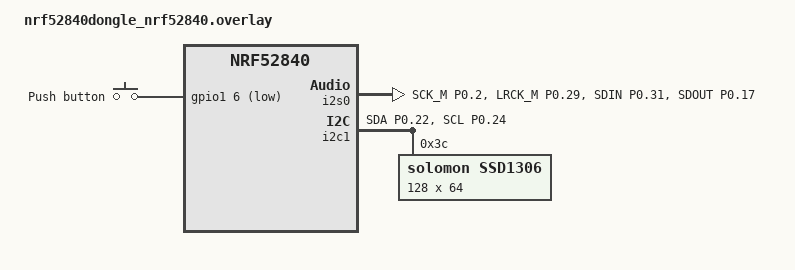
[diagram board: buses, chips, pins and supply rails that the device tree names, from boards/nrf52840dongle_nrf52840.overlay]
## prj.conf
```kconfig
CONFIG_I2S=y
CONFIG_PINCTRL=y
CONFIG_LOG=y
CONFIG_PRINTK=y
CONFIG_CONSOLE=y
CONFIG_SERIAL=y

CONFIG_ESB=y
CONFIG_ESB_MAX_PAYLOAD_LENGTH=132
CONFIG_ESB_TX_FIFO_SIZE=16


#Display
CONFIG_I2C=y
CONFIG_DISPLAY=y
# CFB API
CONFIG_CHARACTER_FRAMEBUFFER=y
# cfb library uses k_malloc internally
CONFIG_HEAP_MEM_POOL_SIZE=16384
```

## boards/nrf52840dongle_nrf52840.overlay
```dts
&pinctrl {
	i2s0_default: i2s0_default {
		group1 {
			psels = <NRF_PSEL(I2S_SCK_M, 0, 2)>,
				<NRF_PSEL(I2S_LRCK_M, 0, 29)>,
				<NRF_PSEL(I2S_SDIN,0,31)>,
				<NRF_PSEL(I2S_SDOUT,0,17)>;
		};
	};
};


&i2s0{
	status = "okay";
	pinctrl-0 = <&i2s0_default>;
	pinctrl-names = "default";
	};

//Below are disabled since 2 of those pins are configured for them
&uart0 {
	status="disabled";
};

&spi1{
	status="disabled";
};

//display
&pinctrl {
    i2c1_default: i2c1_default {
        group1 {
            psels = <NRF_PSEL(TWIM_SDA, 0, 22)>,
                    <NRF_PSEL(TWIM_SCL, 0, 24)>;
        };
    };

    i2c1_sleep: i2c1_sleep {
        group1 {
            psels = <NRF_PSEL(TWIM_SDA, 0, 22)>,
                    <NRF_PSEL(TWIM_SCL, 0, 24)>;
            low-power-enable;
        };
    };
};

&i2c1 {
    status = "okay";
    compatible = "nordic,nrf-twim";
    pinctrl-0 = <&i2c1_default>;
    pinctrl-1 = <&i2c1_sleep>;
    pinctrl-names = "default", "sleep";

    zephyr,concat-buf-size = <1040>;   /* >= 1 (control byte) + 1024 (128x64/8) */

    ssd1306: ssd1306@3c {
        compatible = "solomon,ssd1306";
        reg = <0x3c>;
        width = <128>;
        height = <64>;
        segment-offset = <0>;
        page-offset = <0>;
        display-offset = <0>;
        multiplex-ratio = <63>;
        segment-remap;
        com-invdir;
        prechargep = <0x22>;
    };
};


/ {
    buttons {
        compatible = "gpio-keys";

        button0: button_0 {
            gpios = <&gpio1 6 (GPIO_PULL_UP | GPIO_ACTIVE_LOW)>;
            label = "Push button";
        };
    };

    aliases {
        sw0 = &button0;
    };
};
```

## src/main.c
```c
#include <zephyr/kernel.h>
#include <zephyr/device.h>
#include <zephyr/devicetree.h>
#include <zephyr/drivers/i2s.h>
#include <zephyr/drivers/display.h>
// #include <zephyr/display/cfb.h>
#include <zephyr/sys/printk.h>
#include <string.h>
#include <zephyr/drivers/gpio.h>

#include <zephyr/sys/util.h>
#include <esb.h>

#define SAMPLE_RATE            8000
#define AUDIO_WORD_SIZE         24
#define AUDIO_BLOCK_COUNT        8
#define AUDIO_SAMPLES_PER_BLOCK 512
#define AUDIO_BLOCK_SIZE        (sizeof(int32_t) * AUDIO_SAMPLES_PER_BLOCK)

#define MIC_GAIN 8   

#define ESB_CHUNK_DATA_SIZE      128
#define SAMPLES_PER_CHUNK        (ESB_CHUNK_DATA_SIZE / sizeof(int16_t))       //64
#define CHUNKS_PER_BLOCK         (AUDIO_SAMPLES_PER_BLOCK / SAMPLES_PER_CHUNK) //8

#define BUTTON_NODE DT_ALIAS(sw0)


struct chunk_hdr {
    uint8_t seq;
    uint8_t reserved;
};
#define CHUNK_PKT_SIZE (sizeof(struct chunk_hdr) + ESB_CHUNK_DATA_SIZE) /* 130 */

//dt

// const struct device *dev = DEVICE_DT_GET(DT_NODELABEL(ssd1306));

const struct device *i2s_dev = DEVICE_DT_GET(DT_NODELABEL(i2s0));
struct i2s_config rx_cfg;

static const struct gpio_dt_spec button = GPIO_DT_SPEC_GET(BUTTON_NODE,gpios);

K_MEM_SLAB_DEFINE(rx_mem_slab, AUDIO_BLOCK_SIZE, AUDIO_BLOCK_COUNT, 4);

static bool ready = true;
static struct esb_payload rx_payload;
static struct esb_payload tx_payload;
static uint8_t seq_counter = 0;


static uint32_t dbg_esb_sent = 0;
static uint32_t dbg_esb_failed = 0;
static int32_t  dbg_mic_peak = 0;

static void print_debug(void)
{
    static int64_t last = 0;
    int64_t now = k_uptime_get();
    if (now - last < 2000) return;
    last = now;
 
    printk("[MIC] peak(after gain)=%d\n", dbg_mic_peak);
    printk("[ESB] sent=%u failed=%u\n", dbg_esb_sent, dbg_esb_failed);
   

//    char line1[32], line2[32];

//     snprintf(line1, sizeof(line1), "MIC peak=%d", dbg_mic_peak);
//     snprintf(line2, sizeof(line2), "ESB send=%ufailed=%u", dbg_esb_sent, dbg_esb_failed);

//     cfb_framebuffer_clear(dev, true);
//     cfb_print(dev, line1, 0, 0);
//     cfb_print(dev, line2, 0, 16);   
//     cfb_framebuffer_finalize(dev);
    dbg_esb_sent = 0;
    dbg_esb_failed = 0;
    dbg_mic_peak = 0;
}

static void event_handler(struct esb_evt const *event)
{
    ready = true;
    switch (event->evt_id) {
    case ESB_EVENT_TX_SUCCESS:
        break;
    case ESB_EVENT_TX_FAILED:
        dbg_esb_failed++;
        break;
    case ESB_EVENT_RX_RECEIVED:
        while (esb_read_rx_payload(&rx_payload) == 0) {
            /* PTX doesn't expect data back; drain and discard */
        }
        break;
    }
}

static int esb_initialize(void)
{
    int err;
    uint8_t base_addr_0[4] = {0xE7, 0xE7, 0xE7, 0xE7};
    uint8_t base_addr_1[4] = {0xC2, 0xC2, 0xC2, 0xC2};
    uint8_t addr_prefix[8] = {0xE7, 0xC2, 0xC3, 0xC4, 0xC5, 0xC6, 0xC7, 0xC8};
    struct esb_config config = ESB_DEFAULT_CONFIG;

    config.protocol = ESB_PROTOCOL_ESB_DPL;
    config.bitrate = ESB_BITRATE_2MBPS;
    config.event_handler = event_handler;
    config.mode = ESB_MODE_PTX;
    config.selective_auto_ack = false;

    err = esb_init(&config);
    if (err) return err;
    err = esb_set_base_address_0(base_addr_0);
    if (err) return err;
    err = esb_set_base_address_1(base_addr_1);
    if (err) return err;
    err = esb_set_prefixes(addr_prefix, ARRAY_SIZE(addr_prefix));
    if (err) return err;
    return esb_set_rf_channel(2); /* must match receiver exactly */
}

static int configure_i2s_rx(void)
{
    if (!device_is_ready(i2s_dev)) {
        printk("I2S not ready\n");
        return -ENODEV;
    }
    printk("I2S ready\n");

    rx_cfg.word_size = AUDIO_WORD_SIZE;
    rx_cfg.channels = 1;
    rx_cfg.format = I2S_FMT_DATA_FORMAT_I2S;
    rx_cfg.options = I2S_OPT_BIT_CLK_CONTROLLER | I2S_OPT_FRAME_CLK_CONTROLLER;
    rx_cfg.frame_clk_freq = SAMPLE_RATE;
    rx_cfg.mem_slab = &rx_mem_slab;
    rx_cfg.block_size = AUDIO_BLOCK_SIZE;
    rx_cfg.timeout = SYS_FOREVER_MS;

    int ret = i2s_configure(i2s_dev, I2S_DIR_RX, &rx_cfg);
    if (ret) {
        printk("I2S RX configure failed: %d\n", ret);
        return ret;
    }
    printk("I2S RX configured\n");
    return 0;
}

int main(void)
{
    k_msleep(1000);
    printk("SENDER START\n");

    if (configure_i2s_rx()) {
        return 0;
    }

    int err = esb_initialize();
    printk("ESB init result: %d\n", err);
    if (err) {
        printk("ESB init failed: %d\n", err);
        return 0;
    }

   if (!gpio_is_ready_dt(&button)) {
    printk("button not ready\n");
    return 0;
    }
    int gret = gpio_pin_configure_dt(&button, GPIO_INPUT);
    if (gret) {
        printk("Button gpio configure failed: %d\n", gret);
        return 0;
    }

    //i2s_trigger(i2s_dev, I2S_DIR_RX, I2S_TRIGGER_START);

    static int16_t shrunk[AUDIO_SAMPLES_PER_BLOCK];

    //display initialize

    // if (!device_is_ready(dev)) {
    //     printk("Display device not ready\n");
    // }

    // if (cfb_framebuffer_init(dev)) {
    //     printk("Framebuffer init failed\n");
    // }

    // cfb_framebuffer_clear(dev, true);
    // display_blanking_off(dev);

    static bool was_talking = false;
    while (1) {
        void *read_buf;
        size_t read_size;
        bool talking = gpio_pin_get_dt(&button);

        if(talking && !was_talking){
            i2s_trigger(i2s_dev, I2S_DIR_RX, I2S_TRIGGER_START);

            printk("Mic started\n");
        }
        else if (!talking && was_talking){
            i2s_trigger(i2s_dev, I2S_DIR_RX, I2S_TRIGGER_STOP);
            printk("Mic stopped\n");
        }
        was_talking = talking;

        if(!talking){
            k_msleep(100);
            continue;
        }

        int r = i2s_read(i2s_dev, &read_buf, &read_size);
        if (r) {
            printk("i2s_read failed: %d\n", r);
            continue;
        }

        int32_t *in = (int32_t *)read_buf;
        for (int i = 0; i < AUDIO_SAMPLES_PER_BLOCK; i++) {
            int32_t shifted = in[i] >> 16;
            int32_t boosted = shifted * MIC_GAIN;
            if (boosted > 32767) boosted = 32767;
            if (boosted < -32768) boosted = -32768;
            shrunk[i] = (int16_t)boosted;

            int32_t mag = boosted < 0 ? -boosted : boosted;
            if (mag > dbg_mic_peak) dbg_mic_peak = mag;
        }
        k_mem_slab_free(&rx_mem_slab, read_buf);

        uint8_t *p = (uint8_t *)shrunk;
        for (int c = 0; c < CHUNKS_PER_BLOCK; c++) {
            struct chunk_hdr hdr = { .seq = seq_counter++, .reserved = 0 };

            tx_payload.length = sizeof(hdr) + ESB_CHUNK_DATA_SIZE;
            memcpy(tx_payload.data, &hdr, sizeof(hdr));
            memcpy(tx_payload.data + sizeof(hdr), p + (c * ESB_CHUNK_DATA_SIZE), ESB_CHUNK_DATA_SIZE);

            while (!ready) { k_yield(); }
            ready = false;

            int werr = esb_write_payload(&tx_payload);
            if (werr) {
                esb_flush_tx();
                ready = true;
                dbg_esb_failed++;
            } else {
                dbg_esb_sent++;
            }
        }

        print_debug();
    
    }

    return 0;
}
```

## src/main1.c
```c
#include <zephyr/kernel.h>
#include <zephyr/device.h>
#include <zephyr/devicetree.h>
#include <zephyr/drivers/i2s.h>
#include <zephyr/sys/printk.h>
#include <string.h>

#include <zephyr/sys/util.h>
#include <esb.h>

/* ---- Audio config (matches loopback) ---- */
#define SAMPLE_RATE            8000
#define AUDIO_WORD_SIZE         24
#define AUDIO_BLOCK_COUNT        4
#define AUDIO_SAMPLES_PER_BLOCK 512
#define AUDIO_BLOCK_SIZE        (sizeof(int32_t) * AUDIO_SAMPLES_PER_BLOCK) /* 2048, raw I2S block */
#define AUDIO16_BLOCK_SIZE      (sizeof(int16_t) * AUDIO_SAMPLES_PER_BLOCK) /* 1024, after shrink */

/* ---- Gain applied after shrinking to 16-bit, since raw mic amplitude
 *      is much smaller than full scale -- tune this if too quiet/clipping ---- */
#define MIC_GAIN 8

/* ---- ESB chunking ---- */
#define ESB_CHUNK_DATA_SIZE      128   /* bytes of audio per radio packet */
#define SAMPLES_PER_CHUNK        (ESB_CHUNK_DATA_SIZE / sizeof(int16_t))       /* 64 */
#define CHUNKS_PER_BLOCK         (AUDIO_SAMPLES_PER_BLOCK / SAMPLES_PER_CHUNK) /* 8 */

struct chunk_hdr {
    uint8_t chunk_idx;
    uint8_t total_chunks;
};
#define CHUNK_PKT_SIZE (sizeof(struct chunk_hdr) + ESB_CHUNK_DATA_SIZE) /* 130 */

/* ---- Device / config structs ---- */
const struct device *i2s_dev = DEVICE_DT_GET(DT_NODELABEL(i2s0));
struct i2s_config rx_cfg;

K_MEM_SLAB_DEFINE(rx_mem_slab, AUDIO_BLOCK_SIZE, AUDIO_BLOCK_COUNT, 4);
K_MEM_SLAB_DEFINE(audio16_mem_slab, AUDIO16_BLOCK_SIZE, AUDIO_BLOCK_COUNT, 4);

K_MSGQ_DEFINE(audio_data_queue, sizeof(void *), AUDIO_BLOCK_COUNT, 4);

K_SEM_DEFINE(i2s_rx_ready_sem, 0, 1);
K_SEM_DEFINE(esb_ready_sem, 0, 1);

static bool ready = true;
static struct esb_payload rx_payload;
static struct esb_payload tx_payload;

/* ---- ESB event handler ---- */
static void event_handler(struct esb_evt const *event)
{
    ready = true;

    switch (event->evt_id) {
    case ESB_EVENT_TX_SUCCESS:
        break;
    case ESB_EVENT_TX_FAILED:
        printk("[TX] radio ack failed\n");
        break;
    case ESB_EVENT_RX_RECEIVED:
        while (esb_read_rx_payload(&rx_payload) == 0) {
            /* PTX doesn't expect data back in this demo; drain and discard */
        }
        break;
    }
}

static int esb_initialize(void)
{
    int err;
    uint8_t base_addr_0[4] = {0xE7, 0xE7, 0xE7, 0xE7};
    uint8_t base_addr_1[4] = {0xC2, 0xC2, 0xC2, 0xC2};
    uint8_t addr_prefix[8] = {0xE7, 0xC2, 0xC3, 0xC4, 0xC5, 0xC6, 0xC7, 0xC8};
    struct esb_config config = ESB_DEFAULT_CONFIG;

    config.protocol = ESB_PROTOCOL_ESB_DPL;
    config.bitrate = ESB_BITRATE_2MBPS;
    config.event_handler = event_handler;
    config.mode = ESB_MODE_PTX;
    config.selective_auto_ack = false;

    err = esb_init(&config);
    if (err) return err;

    err = esb_set_base_address_0(base_addr_0);
    if (err) return err;

    err = esb_set_base_address_1(base_addr_1);
    if (err) return err;

    err = esb_set_prefixes(addr_prefix, ARRAY_SIZE(addr_prefix));
    if (err) return err;

    return esb_set_rf_channel(2); /* must match receiver exactly */
}

/* ---- I2S RX config -- matches loopback's RX block exactly ---- */
static int configure_i2s_rx(void)
{
    if (!device_is_ready(i2s_dev)) {
        printk("I2S not ready\n");
        return -ENODEV;
    }
    printk("I2S ready\n");

    rx_cfg.word_size = AUDIO_WORD_SIZE;
    rx_cfg.channels = 1;
    rx_cfg.format = I2S_FMT_DATA_FORMAT_I2S;
    rx_cfg.options = I2S_OPT_BIT_CLK_CONTROLLER | I2S_OPT_FRAME_CLK_CONTROLLER;
    rx_cfg.frame_clk_freq = SAMPLE_RATE;
    rx_cfg.mem_slab = &rx_mem_slab;
    rx_cfg.block_size = AUDIO_BLOCK_SIZE;
    rx_cfg.timeout = SYS_FOREVER_MS;

    int ret = i2s_configure(i2s_dev, I2S_DIR_RX, &rx_cfg);
    if (ret) {
        printk("I2S RX configure failed: %d\n", ret);
        return ret;
    }
    printk("I2S RX configured\n");
    return 0;
}

/* ---- Mic thread: read 32-bit I2S block, shrink+gain to 16-bit, queue it ---- */
static void i2s_read_task(void *p1, void *p2, void *p3)
{
    k_sem_take(&i2s_rx_ready_sem, K_FOREVER);
    printk("RX thread started\n");

    void *read_buf;
    size_t read_size;

    while (1) {
        int ret = i2s_read(i2s_dev, &read_buf, &read_size);
        if (ret) {
            printk("Read failed: %d\n", ret);
            return;
        }

        void *out_buf;
        if (k_mem_slab_alloc(&audio16_mem_slab, &out_buf, K_NO_WAIT) != 0) {
            printk("16-bit slab full, dropping block\n");
            k_mem_slab_free(&rx_mem_slab, read_buf);
            continue;
        }

        /* Shrink 32-bit -> 16-bit (same bit alignment as loopback's ulaw path),
         * then apply gain since raw amplitude alone was too quiet */
        int32_t *in = (int32_t *)read_buf;
        int16_t *out = (int16_t *)out_buf;
        for (int i = 0; i < AUDIO_SAMPLES_PER_BLOCK; i++) {
            int32_t shifted = in[i] >> 16;
            int32_t boosted = shifted * MIC_GAIN;
            if (boosted > 32767) boosted = 32767;
            if (boosted < -32768) boosted = -32768;
            out[i] = (int16_t)boosted;
        }

        /* --- debug --- */
        //printk("[TX] block samples: %d %d %d %d\n", out[0], out[1], out[2], out[3]);

        k_mem_slab_free(&rx_mem_slab, read_buf);

        k_msgq_put(&audio_data_queue, &out_buf, K_FOREVER);
    }
}

/* ---- ESB send thread: chunk each 16-bit block into radio packets ---- */
static void audio_esb_send_task(void *p1, void *p2, void *p3)
{
    k_sem_take(&esb_ready_sem, K_FOREVER);
    printk("ESB send thread started\n");

    void *block;

    while (1) {
        k_msgq_get(&audio_data_queue, &block, K_FOREVER);
        uint8_t *p = (uint8_t *)block;

        for (int i = 0; i < CHUNKS_PER_BLOCK; i++) {
            struct chunk_hdr hdr = { .chunk_idx = i, .total_chunks = CHUNKS_PER_BLOCK };

            tx_payload.length = sizeof(hdr) + ESB_CHUNK_DATA_SIZE;
            memcpy(tx_payload.data, &hdr, sizeof(hdr));
            memcpy(tx_payload.data + sizeof(hdr), p + (i * ESB_CHUNK_DATA_SIZE), ESB_CHUNK_DATA_SIZE);

            while (!ready) {
                k_yield();
            }
            ready = false;

            int err = esb_write_payload(&tx_payload);
            if (err) {
                printk("[TX] chunk %d send failed: %d\n", i, err);
                esb_flush_tx(); /* clear stuck FIFO so next chunk isn't blocked too */
                ready = true;
            }
        }

        k_mem_slab_free(&audio16_mem_slab, block);
    }
}

int main(void)
{
    k_msleep(1000);
    printk("SENDER START\n");

    if (configure_i2s_rx()) {
        return 0;
    }

    int err = esb_initialize();
    printk("ESB init result: %d\n", err);
    if (err) {
        printk("ESB init failed: %d\n", err);
        return 0;
    }

    int ret = i2s_trigger(i2s_dev, I2S_DIR_RX, I2S_TRIGGER_START);
    printk("I2S RX trigger: %d\n", ret);

    k_sem_give(&i2s_rx_ready_sem);
    k_sem_give(&esb_ready_sem);

    while (1) {
        k_sleep(K_SECONDS(1));
    }
    return 0;
}

K_THREAD_DEFINE(i2s_read_task_id, 4096, i2s_read_task, NULL, NULL, NULL, 5, 0, 0);
K_THREAD_DEFINE(audio_esb_send_task_id, 4096, audio_esb_send_task, NULL, NULL, NULL, 5, 0, 0);
```
